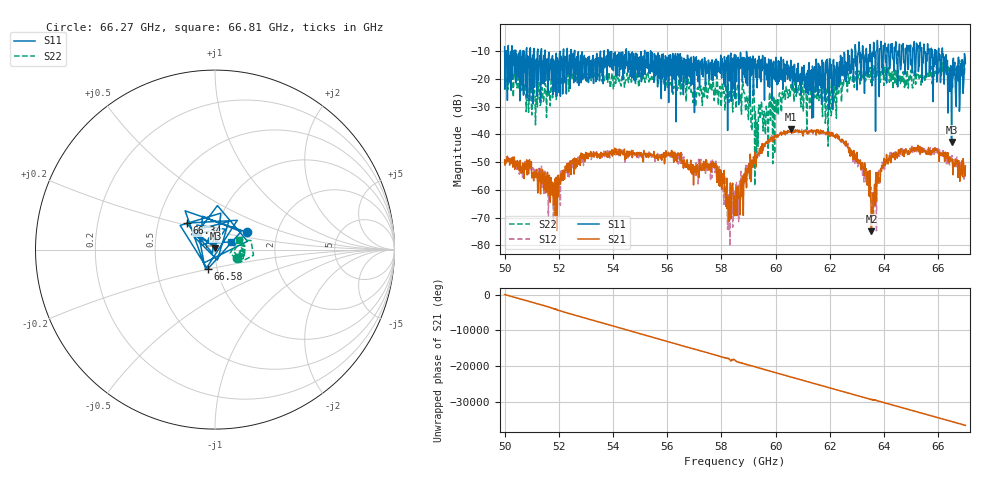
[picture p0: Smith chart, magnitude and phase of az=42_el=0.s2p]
!Created with skrf (http://scikit-rf.org).
# GHz S RI R 50.0
!freq ReS11 ImS11 ReS21 ImS21 ReS12 ImS12 ReS22 ImS22
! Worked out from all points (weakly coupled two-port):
!   1001 points, 50 GHz to 67 GHz, reference 50 ohm
!   highest |S21| = -38.10 dB at 60.57 GHz (marker M1); lowest = -74.9 dB at 63.53 GHz (marker M2)
!   lowest |S11| = -42.7 dB at 66.49 GHz (marker M3), VSWR 1.01, Z = 50.3 + j0.679 ohm
!   |S11| at or under -10 dB: 52.58 GHz to 53.67 GHz (1.087 GHz wide, 2.05 % of centre); 55.39 GHz to 62.66 GHz (7.275 GHz wide, 12.3 % of centre); 66.16 GHz to end of sweep (the widest 3 of 59)
!   |S22| runs from -58.6 to -13.3 dB; largest |S21 - S12| = 0.002
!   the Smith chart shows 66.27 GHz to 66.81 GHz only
!   S11 on the Smith chart (normalised r, x): 66.27 GHz: 1.40, +0.28; 66.34 GHz: 0.70, +0.22; 66.58 GHz: 0.90, -0.20; 66.81 GHz: 1.19, +0.10
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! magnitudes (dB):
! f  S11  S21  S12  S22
! 50 GHz  -8.4  -49.2  -50.4  -23.9
! 51.85 GHz  -14.0  -56.1  -61.7  -20.5
! 52.84 GHz  -12.5  -48.4  -50.2  -19.3
! 55.68 GHz  -13.5  -48.8  -47.2  -21.6
! 57.72 GHz  -15.2  -52.0  -51.7  -25.1
! 58.3 GHz  -14.8  -62.6  -64.7  -27.3
! 58.5 GHz  -27.0  -69.4  -60.1  -23.6
! 59.11 GHz  -12.9  -51.5  -50.6  -37.3
! 59.32 GHz  -23.2  -48.5  -48.1  -35.4
! 60.57 GHz  -17.5  -38.1  -38.7  -22.0
! 61.34 GHz  -34.2  -38.7  -38.4  -25.9
! 62 GHz  -12.8  -39.2  -40.3  -23.4
! 62.56 GHz  -20.3  -43.4  -43.4  -19.7
! 63.28 GHz  -25.2  -50.3  -53.7  -16.9
! 63.53 GHz  -11.2  -74.9  -64.4  -18.2
! 64.18 GHz  -12.1  -49.6  -48.5  -17.5
! 66.27 GHz  -13.9  -46.5  -47.3  -17.8
! 66.34 GHz  -13.3  -48.2  -48.9  -17.6
! 66.49 GHz  -42.7  -49.0  -49.0  -15.6
! 66.58 GHz  -18.7  -50.5  -49.2  -15.6
! 66.81 GHz  -20.2  -52.7  -49.9  -16.9
! 67 GHz  -14.4  -51.4  -52.2  -14.4
